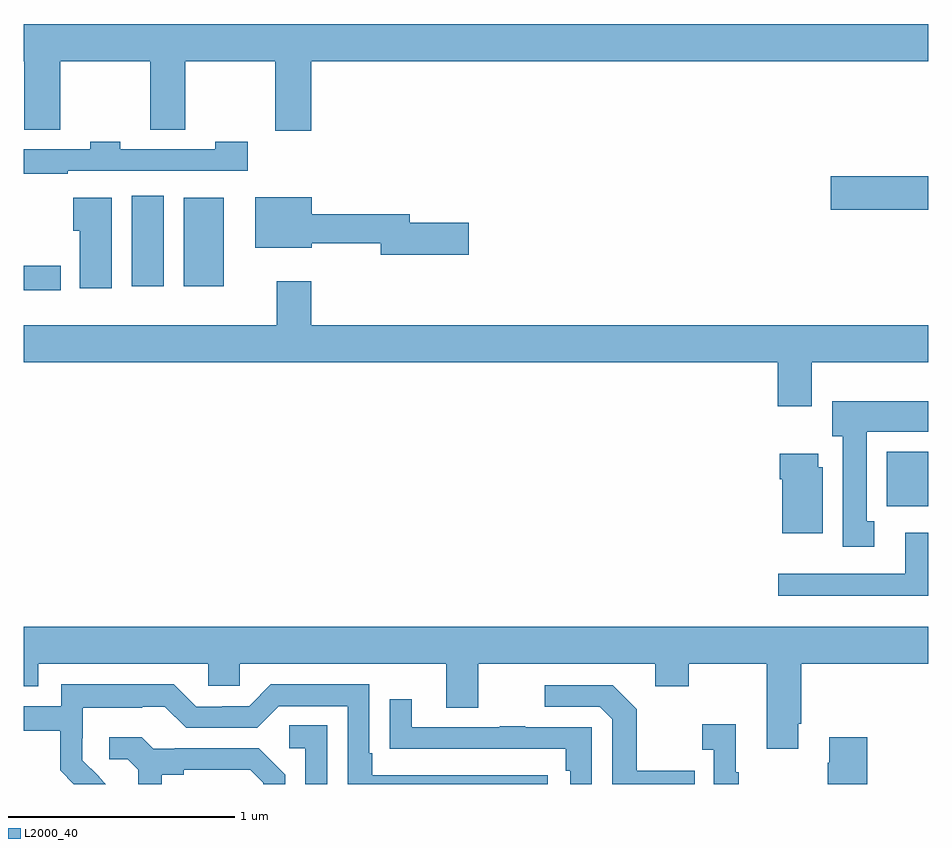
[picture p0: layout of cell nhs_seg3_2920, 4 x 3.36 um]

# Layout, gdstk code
import gdstk
lib = gdstk.Library(unit=1e-6, precision=1e-09)
def R(c, l, rs):  # rectangles x0, y0, x1, y1
    for r in rs: c.add(gdstk.rectangle(r[:2], r[2:], *l))
def P(c, l, *ps):  # polygons
    for p in ps: c.add(gdstk.Polygon(p, *l))
L2000_40 = (2000, 40)

nhs_seg3_2920 = lib.new_cell('nhs_seg3_2920')
R(nhs_seg3_2920, L2000_40, [(266.816,685.628,267,685.87), (263,686.582,263.164,686.692), (263.477,686.6,263.62,687.001), (263.708,686.6,263.884,686.992), (266.568,686.939,267,687.086)])
P(nhs_seg3_2920, L2000_40, [(264.272,687.596),(267,687.596),(267,687.76),(263,687.76),(263,687.596),(263.003,687.596),(263.003,687.292),(263.162,687.292),(263.162,687.596),(263.56,687.596),(263.56,687.292),(263.714,687.292),(263.714,687.596),(264.112,687.596),(264.112,687.288),(264.272,687.288)],
  [(263.195,687.111),(263.992,687.111),(263.992,687.24),(263.847,687.24),(263.847,687.207),(263.427,687.207),(263.427,687.24),(263.295,687.24),(263.295,687.207),(263,687.207),(263,687.099),(263.195,687.099)],
  [(264.967,686.882),(264.706,686.882),(264.706,686.918),(264.274,686.918),(264.274,686.995),(264.023,686.995),(264.023,686.771),(264.274,686.771),(264.274,686.79),(264.578,686.79),(264.578,686.74),(264.967,686.74)],
  [(263.389,686.992),(263.219,686.992),(263.219,686.845),(263.249,686.845),(263.249,686.592),(263.389,686.592)],
  [(266.485,686.264),(267,686.264),(267,686.428),(264.272,686.428),(264.272,686.623),(264.119,686.623),(264.119,686.428),(263,686.428),(263,686.264),(266.333,686.264),(266.333,686.07),(266.485,686.07)],
  [(266.761,685.562),(266.728,685.562),(266.728,685.958),(267,685.958),(267,686.092),(266.576,686.092),(266.576,685.938),(266.621,685.938),(266.621,685.449),(266.761,685.449)],
  [(266.533,685.8),(266.512,685.8),(266.512,685.861),(266.342,685.861),(266.342,685.748),(266.354,685.748),(266.354,685.508),(266.533,685.508)],
  [(267,685.51),(266.897,685.51),(266.897,685.329),(266.337,685.329),(266.337,685.232),(267,685.232)],
  [(266.425,684.667),(266.438,684.667),(266.438,684.932),(267,684.932),(267,685.096),(263,685.096),(263,684.833),(263.065,684.833),(263.065,684.932),(263.817,684.932),(263.817,684.834),(263.955,684.834),(263.955,684.932),(264.869,684.932),(264.869,684.738),(265.009,684.738),(265.009,684.932),(265.793,684.932),(265.793,684.833),(265.941,684.833),(265.941,684.932),(266.285,684.932),(266.285,684.555),(266.425,684.555)],
  [(263.333,684.431),(263.334,684.432),(263.26,684.506),(263.26,684.603),(263.262,684.603),(263.262,684.737),(263.525,684.737),(263.525,684.741),(263.625,684.741),(263.718,684.648),(264.033,684.648),(264.129,684.744),(264.432,684.744),(264.432,684.4),(265.318,684.4),(265.318,684.438),(264.541,684.438),(264.541,684.535),(264.528,684.535),(264.528,684.84),(264.093,684.84),(263.997,684.744),(263.879,684.744),(263.879,684.741),(263.763,684.741),(263.663,684.841),(263.166,684.841),(263.166,684.744),(263,684.744),(263,684.636),(263.161,684.636),(263.161,684.461),(263.222,684.4),(263.364,684.4)],
  [(265.967,684.459),(265.711,684.459),(265.711,684.731),(265.605,684.837),(265.305,684.837),(265.305,684.741),(265.548,684.741),(265.602,684.687),(265.602,684.4),(265.967,684.4)],
  [(265.512,684.651),(265.217,684.651),(265.217,684.656),(265.105,684.656),(265.105,684.651),(264.715,684.651),(264.715,684.775),(264.619,684.775),(264.619,684.556),(264.721,684.556),(264.721,684.555),(265.396,684.555),(265.396,684.458),(265.416,684.458),(265.416,684.4),(265.512,684.4)],
  [(266.161,684.451),(266.149,684.451),(266.149,684.664),(266.001,684.664),(266.001,684.551),(266.052,684.551),(266.052,684.4),(266.161,684.4)],
  [(264.342,684.659),(264.174,684.659),(264.174,684.558),(264.246,684.558),(264.246,684.4),(264.342,684.4)],
  [(263.611,684.44),(263.707,684.44),(263.707,684.462),(264.002,684.462),(264.059,684.405),(264.059,684.4),(264.156,684.4),(264.156,684.442),(264.04,684.558),(263.668,684.558),(263.668,684.555),(263.574,684.555),(263.522,684.607),(263.379,684.607),(263.379,684.51),(263.46,684.51),(263.507,684.463),(263.507,684.4),(263.611,684.4)],
  [(266.729,684.607),(266.561,684.607),(266.561,684.494),(266.554,684.494),(266.554,684.4),(266.729,684.4)])

lib.write_gds('nhs_seg3_2920.gds')
